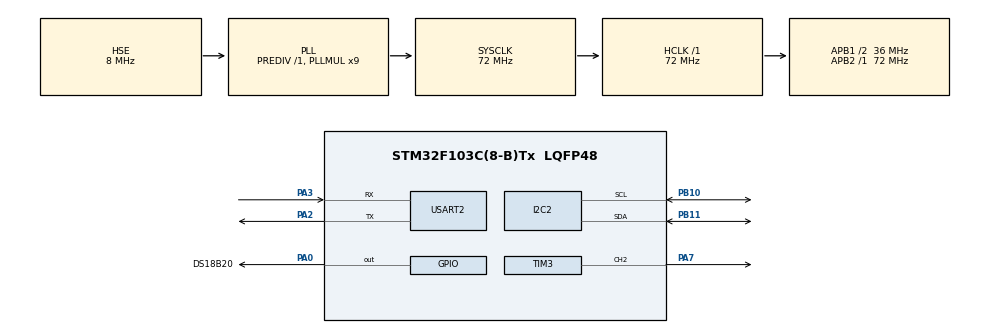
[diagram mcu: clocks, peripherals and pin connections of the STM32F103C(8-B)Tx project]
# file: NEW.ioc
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Dma.I2C2_RX.0.Direction=DMA_PERIPH_TO_MEMORY
Dma.I2C2_RX.0.Instance=DMA1_Channel5
Dma.I2C2_RX.0.MemDataAlignment=DMA_MDATAALIGN_BYTE
Dma.I2C2_RX.0.MemInc=DMA_MINC_ENABLE
Dma.I2C2_RX.0.Mode=DMA_NORMAL
Dma.I2C2_RX.0.PeriphDataAlignment=DMA_PDATAALIGN_BYTE
Dma.I2C2_RX.0.PeriphInc=DMA_PINC_DISABLE
Dma.I2C2_RX.0.Priority=DMA_PRIORITY_LOW
Dma.I2C2_TX.1.Direction=DMA_MEMORY_TO_PERIPH
Dma.I2C2_TX.1.Instance=DMA1_Channel4
Dma.I2C2_TX.1.MemDataAlignment=DMA_MDATAALIGN_BYTE
Dma.I2C2_TX.1.MemInc=DMA_MINC_ENABLE
Dma.I2C2_TX.1.Mode=DMA_NORMAL
Dma.I2C2_TX.1.PeriphDataAlignment=DMA_PDATAALIGN_BYTE
Dma.I2C2_TX.1.PeriphInc=DMA_PINC_DISABLE
Dma.I2C2_TX.1.Priority=DMA_PRIORITY_LOW
Dma.Request0=I2C2_RX
Dma.Request1=I2C2_TX
Dma.Request2=USART2_RX
Dma.Request3=USART2_TX
Dma.USART2_RX.2.Direction=DMA_PERIPH_TO_MEMORY
Dma.USART2_RX.2.Instance=DMA1_Channel6
Dma.USART2_RX.2.MemDataAlignment=DMA_MDATAALIGN_BYTE
Dma.USART2_RX.2.MemInc=DMA_MINC_ENABLE
Dma.USART2_RX.2.Mode=DMA_NORMAL
Dma.USART2_RX.2.PeriphDataAlignment=DMA_PDATAALIGN_BYTE
Dma.USART2_RX.2.PeriphInc=DMA_PINC_DISABLE
Dma.USART2_RX.2.Priority=DMA_PRIORITY_LOW
Dma.USART2_TX.3.Direction=DMA_MEMORY_TO_PERIPH
Dma.USART2_TX.3.Instance=DMA1_Channel7
Dma.USART2_TX.3.MemDataAlignment=DMA_MDATAALIGN_BYTE
Dma.USART2_TX.3.MemInc=DMA_MINC_ENABLE
Dma.USART2_TX.3.Mode=DMA_NORMAL
Dma.USART2_TX.3.PeriphDataAlignment=DMA_PDATAALIGN_BYTE
Dma.USART2_TX.3.PeriphInc=DMA_PINC_DISABLE
Dma.USART2_TX.3.Priority=DMA_PRIORITY_LOW
FREERTOS.Tasks01=UserControl_0,24,128,StartDefaultTask,Default,NULL,Dynamic,NULL,NULL;ReadSensor_1,8,128,StartTask02,As external,NULL,Dynamic,NULL,NULL;WriteScreen_2,8,128,StartTask03,As external,NULL,Dynamic,NULL,NULL;TECControl_3,8,128,StartTask04,As external,NULL,Dynamic,NULL,NULL
FREERTOS.configUSE_NEWLIB_REENTRANT=1
I2C2.I2C_Mode=I2C_Fast
Mcu.Family=STM32F1
Mcu.Name=STM32F103C(8-B)Tx
Mcu.Package=LQFP48
NVIC.DMA1_Channel4_IRQn=true\:5\:0\:false\:false\:true\:true\:false\:true\:true
NVIC.DMA1_Channel5_IRQn=true\:5\:0\:false\:false\:true\:true\:false\:true\:true
NVIC.DMA1_Channel6_IRQn=true\:5\:0\:false\:false\:true\:true\:false\:true\:true
NVIC.DMA1_Channel7_IRQn=true\:5\:0\:false\:false\:true\:true\:false\:true\:true
NVIC.PriorityGroup=NVIC_PRIORITYGROUP_4
NVIC.TIM4_IRQn=true\:15\:0\:false\:false\:true\:false\:false\:true\:true
NVIC.TimeBase=TIM4_IRQn
NVIC.TimeBaseIP=TIM4
NVIC.USART2_IRQn=true\:5\:0\:false\:false\:true\:true\:true\:true\:true
PA0-WKUP.GPIO_Label=DS18B20
PA0-WKUP.GPIO_ModeDefaultOutputPP=GPIO_MODE_OUTPUT_OD
PA0-WKUP.GPIO_PuPd=GPIO_NOPULL
PA0-WKUP.Signal=GPIO_Output
PA13.Mode=Serial_Wire
PA13.Signal=SYS_JTMS-SWDIO
PA14.Mode=Serial_Wire
PA14.Signal=SYS_JTCK-SWCLK
PA2.Mode=Asynchronous
PA2.Signal=USART2_TX
PA3.Mode=Asynchronous
PA3.Signal=USART2_RX
PA7.Signal=S_TIM3_CH2
PB10.Mode=I2C
PB10.Signal=I2C2_SCL
PB11.Mode=I2C
PB11.Signal=I2C2_SDA
PD0-OSC_IN.Mode=HSE-External-Oscillator
PD0-OSC_IN.Signal=RCC_OSC_IN
PD1-OSC_OUT.Mode=HSE-External-Oscillator
PD1-OSC_OUT.Signal=RCC_OSC_OUT
ProjectManager.HeapSize=0x200
ProjectManager.StackSize=0x400
ProjectManager.TargetToolchain=STM32CubeIDE
RCC.AHBFreq_Value=72000000
RCC.APB1CLKDivider=RCC_HCLK_DIV2
RCC.APB1Freq_Value=36000000
RCC.APB1TimFreq_Value=72000000
RCC.APB2Freq_Value=72000000
RCC.APB2TimFreq_Value=72000000
RCC.HCLKFreq_Value=72000000
RCC.PLLMUL=RCC_PLL_MUL9
RCC.PLLSourceVirtual=RCC_PLLSOURCE_HSE
RCC.SYSCLKFreq_VALUE=72000000
RCC.SYSCLKSource=RCC_SYSCLKSOURCE_PLLCLK
RCC.USBFreq_Value=72000000
SH.S_TIM3_CH2.0=TIM3_CH2,PWM Generation2 CH2
TIM3.Channel-PWM\ Generation2\ CH2=TIM_CHANNEL_2
TIM3.Period=999
TIM3.Prescaler=71
USART2.VirtualMode=VM_ASYNC
VP_FREERTOS_VS_CMSIS_V2.Mode=CMSIS_V2
VP_SYS_VS_tim4.Mode=TIM4
board=custom

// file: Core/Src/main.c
/* USER CODE BEGIN Header */
/**
  ******************************************************************************
  * @file           : main.c
  * @brief          : Main program body
  ******************************************************************************
  * @attention
  *
  * Copyright (c) 2025 STMicroelectronics.
  * All rights reserved.
  *
  * This software is licensed under terms that can be found in the LICENSE file
  * in the root directory of this software component.
  * If no LICENSE file comes with this software, it is provided AS-IS.
  *
  ******************************************************************************
  */
/* USER CODE END Header */
#include "main.h"
#include "cmsis_os.h"
#include "dma.h"
#include "i2c.h"
#include "tim.h"
#include "usart.h"
#include "gpio.h"

/* USER CODE BEGIN Includes */
//定义延时函数
void DWT_Delay_Init(void)
{
    CoreDebug->DEMCR |= CoreDebug_DEMCR_TRCENA_Msk;
    DWT->CYCCNT = 0;
    DWT->CTRL |= DWT_CTRL_CYCCNTENA_Msk;
}

void DS18B20_Delay_us(uint32_t us)
{
    uint32_t start = DWT->CYCCNT;
    uint32_t cycles = us * (SystemCoreClock / 1000000);
    while ((DWT->CYCCNT - start) < cycles);
}
/* USER CODE END Includes */

void SystemClock_Config(void);
void MX_FREERTOS_Init(void);

int main(void)
{

  /* MCU Configuration--------------------------------------------------------*/

  /* Reset of all peripherals, Initializes the Flash interface and the Systick. */
  HAL_Init();

  /* Configure the system clock */
  SystemClock_Config();

  /* Initialize all configured peripherals */
  MX_GPIO_Init();
  MX_DMA_Init();
  MX_I2C2_Init();
  MX_TIM3_Init();
  MX_USART2_UART_Init();
  /* USER CODE BEGIN 2 */
  // Initialize CH1116 OLED display
  CH1116_Init();

  // Display a test pattern
  CH1116_Clear();
  CH1116_Fill(1);
  CH1116_Display();
  HAL_Delay(1000);

  CH1116_Clear();
  CH1116_Display();

  // Initialize TEC
  TEC_Init(&htim3, TIM_CHANNEL_2);
  TEC_Start();

  // Test TEC with varying power levels
  for (int i = 0; i <= 100; i += 10) {
    TEC_SetPower(i);
    HAL_Delay(200);
  }
  /* USER CODE END 2 */

  /* Init scheduler */
  osKernelInitialize();

  /* Call init function for freertos objects (in cmsis_os2.c) */
  MX_FREERTOS_Init();

  /* Start scheduler */
  osKernelStart();

  /* We should never get here as control is now taken by the scheduler */

  /* Infinite loop */
  while (1)
  {

  }
}

void SystemClock_Config(void)
{
  RCC_OscInitTypeDef RCC_OscInitStruct = {0};
  RCC_ClkInitTypeDef RCC_ClkInitStruct = {0};

  /** Initializes the RCC Oscillators according to the specified parameters
  * in the RCC_OscInitTypeDef structure.
  */
  RCC_OscInitStruct.OscillatorType = RCC_OSCILLATORTYPE_HSE;
  RCC_OscInitStruct.HSEState = RCC_HSE_ON;
  RCC_OscInitStruct.HSEPredivValue = RCC_HSE_PREDIV_DIV1;
  RCC_OscInitStruct.HSIState = RCC_HSI_ON;
  RCC_OscInitStruct.PLL.PLLState = RCC_PLL_ON;
  RCC_OscInitStruct.PLL.PLLSource = RCC_PLLSOURCE_HSE;
  RCC_OscInitStruct.PLL.PLLMUL = RCC_PLL_MUL9;
  if (HAL_RCC_OscConfig(&RCC_OscInitStruct) != HAL_OK)
  {
    Error_Handler();
  }

  /** Initializes the CPU, AHB and APB buses clocks
  */
  RCC_ClkInitStruct.ClockType = RCC_CLOCKTYPE_HCLK|RCC_CLOCKTYPE_SYSCLK
                              |RCC_CLOCKTYPE_PCLK1|RCC_CLOCKTYPE_PCLK2;
  RCC_ClkInitStruct.SYSCLKSource = RCC_SYSCLKSOURCE_PLLCLK;
  RCC_ClkInitStruct.AHBCLKDivider = RCC_SYSCLK_DIV1;
  RCC_ClkInitStruct.APB1CLKDivider = RCC_HCLK_DIV2;
  RCC_ClkInitStruct.APB2CLKDivider = RCC_HCLK_DIV1;

  if (HAL_RCC_ClockConfig(&RCC_ClkInitStruct, FLASH_LATENCY_2) != HAL_OK)
  {
    Error_Handler();
  }
}

/* USER CODE BEGIN 4 */
/**
  * @brief  I2C内存写入完成回调函数
  * @param  hi2c: I2C句柄
  * @retval 无
  */
void HAL_I2C_MemTxCpltCallback(I2C_HandleTypeDef *hi2c)
{
    if (hi2c->Instance == I2C2)
    {
        CH1116_DMA_TransmitComplete();
    }
}
/* USER CODE END 4 */

void HAL_TIM_PeriodElapsedCallback(TIM_HandleTypeDef *htim)
{
  if (htim->Instance == TIM4)
  {
    HAL_IncTick();
  }
}

void Error_Handler(void)
{
  __disable_irq();
  while (1)
  {
  }
}

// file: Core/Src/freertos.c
/* USER CODE BEGIN Header */
/**
  ******************************************************************************
  * File Name          : freertos.c
  * Description        : Code for freertos applications
  ******************************************************************************
  * @attention
  *
  * Copyright (c) 2025 STMicroelectronics.
  * All rights reserved.
  *
  * This software is licensed under terms that can be found in the LICENSE file
  * in the root directory of this software component.
  * If no LICENSE file comes with this software, it is provided AS-IS.
  *
  ******************************************************************************
  */
/* USER CODE END Header */

#include "FreeRTOS.h"
#include "task.h"
#include "main.h"
#include "cmsis_os.h"

/* USER CODE BEGIN Includes */
#include "DS18B20.h"
#include "PID.h"
#include "math.h"
#include <stdio.h>
#include "tim.h"
#include "usart.h"
#include "stm32f1xx_hal_uart.h"
/* USER CODE END Includes */

/* USER CODE BEGIN Variables */
// 全局变量用于任务间通信
float currentTemperature = 0.0;     // 当前温度
float targetTemperature = 25.0;     // 目标温度
uint8_t tecPower = 0;               // TEC功率输出
uint8_t tecEnabled = 1;             // TEC使能标志
char displayBuffer[64];             // 显示缓冲区

// PID控制器
PIDController pidController;

// 互斥锁用于保护共享数据
osMutexId_t temperatureMutexHandle;
const osMutexAttr_t temperatureMutex_attributes = {
  .name = "temperatureMutex"
};

/* USER CODE END Variables */
/* Definitions for UserControl_0 */
osThreadId_t UserControl_0Handle;
const osThreadAttr_t UserControl_0_attributes = {
  .name = "UserControl_0",
  .stack_size = 128 * 4,
  .priority = (osPriority_t) osPriorityNormal,
};
/* Definitions for ReadSensor_1 */
osThreadId_t ReadSensor_1Handle;
const osThreadAttr_t ReadSensor_1_attributes = {
  .name = "ReadSensor_1",
  .stack_size = 128 * 4,
  .priority = (osPriority_t) osPriorityLow,
};
/* Definitions for WriteScreen_2 */
osThreadId_t WriteScreen_2Handle;
const osThreadAttr_t WriteScreen_2_attributes = {
  .name = "WriteScreen_2",
  .stack_size = 128 * 4,
  .priority = (osPriority_t) osPriorityLow,
};
/* Definitions for TECControl_3 */
osThreadId_t TECControl_3Handle;
const osThreadAttr_t TECControl_3_attributes = {
  .name = "TECControl_3",
  .stack_size = 128 * 4,
  .priority = (osPriority_t) osPriorityLow,
};

/* USER CODE BEGIN FunctionPrototypes */
void StartTask02(void *argument);  // ReadSensor_1
void StartTask03(void *argument);  // WriteScreen_2
void StartTask04(void *argument);  // TECControl_3
/* USER CODE END FunctionPrototypes */

void StartDefaultTask(void *argument);
extern void StartTask02(void *argument);
extern void StartTask03(void *argument);
extern void StartTask04(void *argument);

void MX_FREERTOS_Init(void); /* (MISRA C 2004 rule 8.1) */

void MX_FREERTOS_Init(void) {

  /* USER CODE BEGIN RTOS_MUTEX */
  /* add mutexes, ... */
  temperatureMutexHandle = osMutexNew(&temperatureMutex_attributes);
  /* USER CODE END RTOS_MUTEX */

  /* Create the thread(s) */
  /* creation of UserControl_0 */
  UserControl_0Handle = osThreadNew(StartDefaultTask, NULL, &UserControl_0_attributes);

  /* creation of ReadSensor_1 */
  ReadSensor_1Handle = osThreadNew(StartTask02, NULL, &ReadSensor_1_attributes);

  /* creation of WriteScreen_2 */
  WriteScreen_2Handle = osThreadNew(StartTask03, NULL, &WriteScreen_2_attributes);

  /* creation of TECControl_3 */
  TECControl_3Handle = osThreadNew(StartTask04, NULL, &TECControl_3_attributes);

}

void StartDefaultTask(void *argument)
{
  /* USER CODE BEGIN StartDefaultTask */
  // UART接收缓冲区
  uint8_t rxBuffer[10];  // 增加缓冲区大小以处理更长的命令
  uint8_t commandBuffer[10];
  uint8_t commandLength = 0;

  // 启动UART接收
  HAL_UART_Receive_DMA(&huart2, rxBuffer, 1);

  /* Infinite loop */
  for(;;)
  {
    // 检查是否有接收到数据
    if (__HAL_UART_GET_FLAG(&huart2, UART_FLAG_RXNE)) {
      // 将接收到的数据添加到命令缓冲区
      if (rxBuffer[0] == '\r' || rxBuffer[0] == '\n') {
        // 处理命令结束符
        if (commandLength > 0) {
          commandBuffer[commandLength] = '\0';  // 字符串结束符

          // 处理命令
          if (commandLength == 2 && commandBuffer[0] == 'P' && commandBuffer[1] == '0') {
            // 关闭TEC
            tecEnabled = 0;
            TEC_Stop();
            // 发送确认信息
            HAL_UART_Transmit(&huart2, (uint8_t*)"TEC Disabled\r\n", 14, 100);
          }
          else if (commandLength == 2 && commandBuffer[0] == 'P' && commandBuffer[1] == '1') {
            // 启用TEC
            tecEnabled = 1;
            TEC_Start();
            // 发送确认信息
            HAL_UART_Transmit(&huart2, (uint8_t*)"TEC Enabled\r\n", 13, 100);
          }
          else if (commandLength == 3 && commandBuffer[0] == 'T' &&
                   commandBuffer[1] >= '0' && commandBuffer[1] <= '9' &&
                   commandBuffer[2] >= '0' && commandBuffer[2] <= '9') {
            // 设置目标温度
            uint8_t tempTens = commandBuffer[1] - '0';
            uint8_t tempOnes = commandBuffer[2] - '0';
            uint8_t tempValue = tempTens * 10 + tempOnes;

            // 检查温度范围
            if (tempValue <= 50) {
              // 获取互斥锁
              osStatus_t status = osMutexAcquire(temperatureMutexHandle, 100);
              if (status == osOK) {
                targetTemperature = (float)tempValue;
                // 释放互斥锁
                osMutexRelease(temperatureMutexHandle);
              }
              // 发送确认信息
              char response[30];
              snprintf(response, sizeof(response), "Target Temp Set: %d C\r\n", tempValue);
              HAL_UART_Transmit(&huart2, (uint8_t*)response, strlen(response), 100);
            } else {
              // 温度超出范围
              HAL_UART_Transmit(&huart2, (uint8_t*)"Temp Out of Range (0-50)\r\n", 26, 100);
            }
          }
          else {
            // 无效命令
            HAL_UART_Transmit(&huart2, (uint8_t*)"Invalid command\r\n", 17, 100);
          }

          // 重置命令长度
          commandLength = 0;
        }
      }
      else if (commandLength < 9) {
        // 添加字符到命令缓冲区
        commandBuffer[commandLength++] = rxBuffer[0];
      }
      else {
        // 缓冲区溢出，重置
        commandLength = 0;
      }

      // 重新启动接收
      HAL_UART_Receive_DMA(&huart2, rxBuffer, 1);
    }
    osDelay(10);
  }
  /* USER CODE END StartDefaultTask */
}

/* USER CODE BEGIN Application */

/**
  * @brief  ReadSensor_1任务函数
  * @param  argument: Not used
  * @retval None
  */
void StartTask02(void *argument)
{
  /* USER CODE BEGIN StartTask02 */
  float temperature;
  osStatus_t status;

  // 初始化DS18B20温度传感器
  DS18B20_Init();

  /* Infinite loop */
  for(;;)
  {
    // 读取温度传感器数据
    temperature = DS18B20_GetTemp();

    // 检查温度读取是否有效
    if (!isnan(temperature)) {
      // 获取互斥锁
      status = osMutexAcquire(temperatureMutexHandle, 100);
      if (status == osOK) {
        // 更新全局温度变量
        currentTemperature = temperature;
        // 释放互斥锁
        osMutexRelease(temperatureMutexHandle);
      }
    }

    // 每500ms读取一次温度
    osDelay(500);
  }
  /* USER CODE END StartTask02 */
}

/**
  * @brief  WriteScreen_2任务函数
  * @param  argument: Not used
  * @retval None
  */
void StartTask03(void *argument)
{
  /* USER CODE BEGIN StartTask03 */
  osStatus_t status;
  float localTemperature;
  uint8_t localTecPower;

  /* Infinite loop */
  for(;;)
  {
    // 获取互斥锁
    status = osMutexAcquire(temperatureMutexHandle, 100);
    if (status == osOK) {
      // 读取全局变量
      localTemperature = currentTemperature;
      localTecPower = tecPower;
      // 释放互斥锁
      osMutexRelease(temperatureMutexHandle);

      // 清除显示缓冲区
      CH1116_Clear();

      // 显示温度信息
      int tempIntPart = (int)localTemperature;
      int tempDecPart = (int)((localTemperature - tempIntPart) * 100);
      if (tempDecPart < 0) tempDecPart = -tempDecPart; // 处理负数情况
      snprintf(displayBuffer, sizeof(displayBuffer), "Temp: %d.%02d C", tempIntPart, tempDecPart);
      CH1116_PrintString(0, 0, displayBuffer);

      // 显示TEC功率信息
      snprintf(displayBuffer, sizeof(displayBuffer), "TEC Power: %d%%", localTecPower);
      CH1116_PrintString(2, 0, displayBuffer);

      // 更新显示
      CH1116_Display();
    }

    // 每1000ms更新一次显示
    osDelay(1000);
  }
  /* USER CODE END StartTask03 */
}

/**
  * @brief  TECControl_3任务函数
  * @param  argument: Not used
  * @retval None
  */
void StartTask04(void *argument)
{
  /* USER CODE BEGIN StartTask04 */
  osStatus_t status;
  float localTemperature;
  float pidOutput;
  uint8_t tecPowerValue;
  extern uint8_t tecEnabled; // 引用UserControl_0任务中的tecEnabled变量

  // 初始化PID控制器
  pidController.Kp = 2.0f;
  pidController.Ki = 0.5f;
  pidController.Kd = 0.1f;
  pidController.tau = 0.02f;
  pidController.limMin = 0.0f;
  pidController.limMax = 100.0f;
  pidController.limMinInt = -100.0f;
  pidController.limMaxInt = 100.0f;
  pidController.T = 0.5f; // 500ms采样周期
  PIDController_Init(&pidController);

  // 初始化TEC
  TEC_Init(&htim3, TIM_CHANNEL_2);
  TEC_Start();

  /* Infinite loop */
  for(;;)
  {
    // 检查TEC是否启用
    if (tecEnabled) {
      // 获取互斥锁
      status = osMutexAcquire(temperatureMutexHandle, 100);
      if (status == osOK) {
        // 读取全局变量
        localTemperature = currentTemperature;
        // 释放互斥锁
        osMutexRelease(temperatureMutexHandle);

        // 检查目标温度是否高于当前温度（TEC只能冷却）
        if (targetTemperature >= localTemperature) {
          // 目标温度高于或等于当前温度，TEC不工作
          TEC_SetPower(0);
          tecPowerValue = 0;
        } else {
          // 目标温度低于当前温度，使用PID控制器计算TEC功率
          pidOutput = PIDController_Update(&pidController, targetTemperature, localTemperature);

          // 限制输出范围并转换为整数
          pidOutput = fmaxf(0.0f, fminf(100.0f, pidOutput));
          tecPowerValue = (uint8_t)pidOutput;

          // 设置TEC功率
          TEC_SetPower(tecPowerValue);
        }

        // 更新全局TEC功率变量
        status = osMutexAcquire(temperatureMutexHandle, 100);
        if (status == osOK) {
          tecPower = tecPowerValue;
          osMutexRelease(temperatureMutexHandle);
        }
      }
    } else {
      // TEC未启用，确保功率为0
      TEC_SetPower(0);
      // 更新全局TEC功率变量
      status = osMutexAcquire(temperatureMutexHandle, 100);
      if (status == osOK) {
        tecPower = 0;
        osMutexRelease(temperatureMutexHandle);
      }
    }

    // 每500ms调整一次TEC功率
    osDelay(500);
  }
  /* USER CODE END StartTask04 */
}

/* USER CODE END Application */
